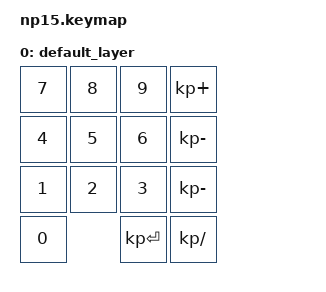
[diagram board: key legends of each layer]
#include <behaviors.dtsi>
#include <dt-bindings/zmk/keys.h>

/ {
    keymap {
        compatible = "zmk,keymap";

        default_layer { // Layer 0
            // -------------------------------------------------
            // |     7     |     8     |     9     |     +     |
            // |     4     |     5     |     6     |     -     |
            // |     1     |     2     |     3     |     *     |
            // |          0            |    ENT    |     /     |
            bindings = <
                &kp N7    &kp N8    &kp N9       &kp KP_PLUS
                &kp N4    &kp N5    &kp N6       &kp KP_MINUS
                &kp N1    &kp N2    &kp N3       &kp KP_MINUS
                &kp N0              &kp KP_ENTER    &kp KP_DIVIDE
            >;
        };
    };
 };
